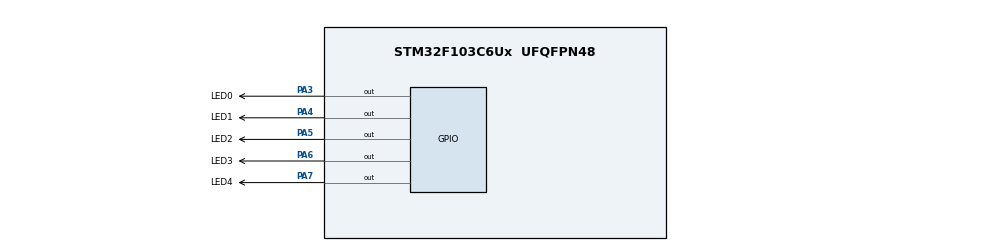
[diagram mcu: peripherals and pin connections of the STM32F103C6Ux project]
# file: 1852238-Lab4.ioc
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Mcu.Family=STM32F1
Mcu.Name=STM32F103C6Ux
Mcu.Package=UFQFPN48
NVIC.PriorityGroup=NVIC_PRIORITYGROUP_4
NVIC.TIM2_IRQn=true\:0\:0\:false\:false\:true\:true\:true\:true
PA3.GPIO_Label=LED0
PA3.Signal=GPIO_Output
PA4.GPIO_Label=LED1
PA4.Signal=GPIO_Output
PA5.GPIO_Label=LED2
PA5.Signal=GPIO_Output
PA6.GPIO_Label=LED3
PA6.Signal=GPIO_Output
PA7.GPIO_Label=LED4
PA7.Signal=GPIO_Output
ProjectManager.HeapSize=0x200
ProjectManager.StackSize=0x400
ProjectManager.TargetToolchain=STM32CubeIDE
RCC.APB1Freq_Value=8000000
RCC.APB2Freq_Value=8000000
TIM2.Period=9
TIM2.Prescaler=7999
VP_TIM2_VS_ClockSourceINT.Mode=Internal
board=custom

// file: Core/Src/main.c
/* USER CODE BEGIN Header */
/**
  ******************************************************************************
  * @file           : main.c
  * @brief          : Main program body
  ******************************************************************************
  * @attention
  *
  * Copyright (c) 2022 STMicroelectronics.
  * All rights reserved.
  *
  * This software is licensed under terms that can be found in the LICENSE file
  * in the root directory of this software component.
  * If no LICENSE file comes with this software, it is provided AS-IS.
  *
  ******************************************************************************
  */
/* USER CODE END Header */
#include "main.h"

/* USER CODE BEGIN Includes */
#include "software_timer.h"
#include "scheduler.h"
/* USER CODE END Includes */

TIM_HandleTypeDef htim2;

void SystemClock_Config(void);
static void MX_GPIO_Init(void);
static void MX_TIM2_Init(void);

/* USER CODE BEGIN 0 */
void init_off() {
	HAL_GPIO_WritePin(LED0_GPIO_Port, LED0_Pin, SET);
	HAL_GPIO_WritePin(LED1_GPIO_Port, LED1_Pin, SET);
	HAL_GPIO_WritePin(LED2_GPIO_Port, LED2_Pin, SET);
	HAL_GPIO_WritePin(LED3_GPIO_Port, LED3_Pin, SET);
	HAL_GPIO_WritePin(LED4_GPIO_Port, LED4_Pin, SET);
}

void LED0_TOGGLE() {
	HAL_GPIO_TogglePin(LED0_GPIO_Port, LED0_Pin);
}

void LED1_TOGGLE() {
	HAL_GPIO_TogglePin(LED1_GPIO_Port, LED1_Pin);
}

void LED2_TOGGLE() {
	HAL_GPIO_TogglePin(LED2_GPIO_Port, LED2_Pin);
}

void LED3_TOGGLE() {
	HAL_GPIO_TogglePin(LED3_GPIO_Port, LED3_Pin);
}

void LED4_TOGGLE() {
	HAL_GPIO_TogglePin(LED4_GPIO_Port, LED4_Pin);
}

void LAST_TOGGLE() {
	init_off();
}

/* USER CODE END 0 */

int main(void)
{

  /* MCU Configuration--------------------------------------------------------*/

  /* Reset of all peripherals, Initializes the Flash interface and the Systick. */
  HAL_Init();

  /* Configure the system clock */
  SystemClock_Config();

  /* Initialize all configured peripherals */
  MX_GPIO_Init();
  MX_TIM2_Init();
  /* USER CODE BEGIN 2 */
  HAL_TIM_Base_Start_IT(&htim2);

  init_off();
  setTimer1(100);

  SCH_Init();

  SCH_Add_Task(LED0_TOGGLE, 0, 50); //No delay, Toggle every 0.5
  SCH_Add_Task(LED1_TOGGLE, 100, 100); //Delay 1s, Toggle every 1
  SCH_Add_Task(LED2_TOGGLE, 300, 0); //Toggle only once
  SCH_Add_Task(LED3_TOGGLE, 300, 200); //Delay 3s, Toggle every 2
  SCH_Add_Task(LED4_TOGGLE, 400, 300); // Delay 4s, Toggle every 3
  SCH_Add_Task(LAST_TOGGLE, 500, 0); //RESET once at 5s
  /* USER CODE END 2 */

  /* Infinite loop */
  /* USER CODE BEGIN WHILE */
  while (1)
  {
	SCH_Dispatch_Tasks();
    /* USER CODE END WHILE */

  }
}

void SystemClock_Config(void)
{
  RCC_OscInitTypeDef RCC_OscInitStruct = {0};
  RCC_ClkInitTypeDef RCC_ClkInitStruct = {0};

  /** Initializes the RCC Oscillators according to the specified parameters
  * in the RCC_OscInitTypeDef structure.
  */
  RCC_OscInitStruct.OscillatorType = RCC_OSCILLATORTYPE_HSI;
  RCC_OscInitStruct.HSIState = RCC_HSI_ON;
  RCC_OscInitStruct.HSICalibrationValue = RCC_HSICALIBRATION_DEFAULT;
  RCC_OscInitStruct.PLL.PLLState = RCC_PLL_NONE;
  if (HAL_RCC_OscConfig(&RCC_OscInitStruct) != HAL_OK)
  {
    Error_Handler();
  }

  /** Initializes the CPU, AHB and APB buses clocks
  */
  RCC_ClkInitStruct.ClockType = RCC_CLOCKTYPE_HCLK|RCC_CLOCKTYPE_SYSCLK
                              |RCC_CLOCKTYPE_PCLK1|RCC_CLOCKTYPE_PCLK2;
  RCC_ClkInitStruct.SYSCLKSource = RCC_SYSCLKSOURCE_HSI;
  RCC_ClkInitStruct.AHBCLKDivider = RCC_SYSCLK_DIV1;
  RCC_ClkInitStruct.APB1CLKDivider = RCC_HCLK_DIV1;
  RCC_ClkInitStruct.APB2CLKDivider = RCC_HCLK_DIV1;

  if (HAL_RCC_ClockConfig(&RCC_ClkInitStruct, FLASH_LATENCY_0) != HAL_OK)
  {
    Error_Handler();
  }
}

static void MX_TIM2_Init(void)
{

  TIM_ClockConfigTypeDef sClockSourceConfig = {0};
  TIM_MasterConfigTypeDef sMasterConfig = {0};

  htim2.Instance = TIM2;
  htim2.Init.Prescaler = 7999;
  htim2.Init.CounterMode = TIM_COUNTERMODE_UP;
  htim2.Init.Period = 9;
  htim2.Init.ClockDivision = TIM_CLOCKDIVISION_DIV1;
  htim2.Init.AutoReloadPreload = TIM_AUTORELOAD_PRELOAD_DISABLE;
  if (HAL_TIM_Base_Init(&htim2) != HAL_OK)
  {
    Error_Handler();
  }
  sClockSourceConfig.ClockSource = TIM_CLOCKSOURCE_INTERNAL;
  if (HAL_TIM_ConfigClockSource(&htim2, &sClockSourceConfig) != HAL_OK)
  {
    Error_Handler();
  }
  sMasterConfig.MasterOutputTrigger = TIM_TRGO_RESET;
  sMasterConfig.MasterSlaveMode = TIM_MASTERSLAVEMODE_DISABLE;
  if (HAL_TIMEx_MasterConfigSynchronization(&htim2, &sMasterConfig) != HAL_OK)
  {
    Error_Handler();
  }

}

static void MX_GPIO_Init(void)
{
  GPIO_InitTypeDef GPIO_InitStruct = {0};

  /* GPIO Ports Clock Enable */
  __HAL_RCC_GPIOA_CLK_ENABLE();

  /*Configure GPIO pin Output Level */
  HAL_GPIO_WritePin(GPIOA, LED0_Pin|LED1_Pin|LED2_Pin|LED3_Pin
                          |LED4_Pin, GPIO_PIN_RESET);

  /*Configure GPIO pins : LED0_Pin LED1_Pin LED2_Pin LED3_Pin
                           LED4_Pin */
  GPIO_InitStruct.Pin = LED0_Pin|LED1_Pin|LED2_Pin|LED3_Pin
                          |LED4_Pin;
  GPIO_InitStruct.Mode = GPIO_MODE_OUTPUT_PP;
  GPIO_InitStruct.Pull = GPIO_NOPULL;
  GPIO_InitStruct.Speed = GPIO_SPEED_FREQ_LOW;
  HAL_GPIO_Init(GPIOA, &GPIO_InitStruct);

}

/* USER CODE BEGIN 4 */
void HAL_TIM_PeriodElapsedCallback(TIM_HandleTypeDef *htim2) {
  SCH_Update();
  timerRun();
}
/* USER CODE END 4 */

void Error_Handler(void)
{
  __disable_irq();
  while (1)
  {
  }
}
